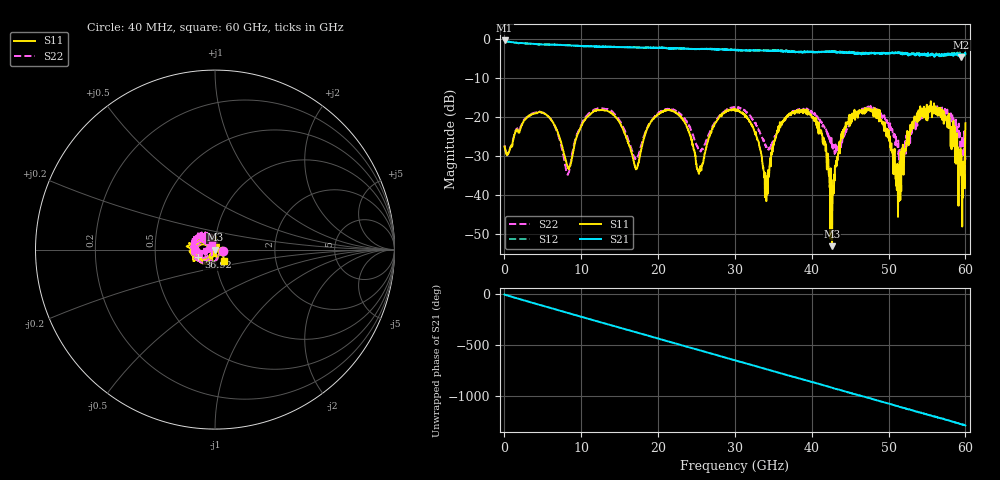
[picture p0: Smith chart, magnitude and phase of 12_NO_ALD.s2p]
! File created by 'SoftPlot +Plus+ Measurement Management Software'
! SoftPlot +Plus+ Measurement Management Software
! Start 40.000000 MHz  Stop 60.000000 GHz  Points 1601
# MHZ S RI R 50
! S-Parameter data, F S11 S21 S12 S22
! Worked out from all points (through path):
!   1601 points, 40 MHz to 60 GHz, reference 50 ohm
!   highest |S21| = -0.41 dB at 40 MHz (marker M1); lowest = -4.6 dB at 59.48 GHz (marker M2)
!   group delay of S21, straight-line fit = 59.3 ps
!   lowest |S11| = -53.2 dB at 42.65 GHz (marker M3), VSWR 1.00, Z = 50.2 - j0.08 ohm
!   |S11| at or under -10 dB: start of sweep to end of sweep
!   |S22| runs from -34.9 to -17.0 dB; largest |S21 - S12| = 0.086
!   S11 on the Smith chart (normalised r, x): 40 MHz: 1.08, -0.02; 36.92 GHz: 0.83, -0.07; 60 GHz: 1.10, -0.14
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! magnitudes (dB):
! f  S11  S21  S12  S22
! 40 MHz  -27.7  -0.4  -0.4  -27.3
! 4.874 GHz  -18.9  -1.5  -1.5  -18.9
! 8.284 GHz  -33.1  -1.6  -1.6  -34.8
! 10.05 GHz  -22.3  -1.9  -1.8  -21.9
! 13.98 GHz  -19.1  -2.0  -2.0  -18.5
! 17.2 GHz  -33.4  -2.2  -2.2  -30.8
! 20.05 GHz  -19.3  -2.4  -2.3  -19.0
! 23.2 GHz  -20.7  -2.5  -2.4  -19.9
! 25.37 GHz  -33.6  -2.6  -2.6  -28.5
! 30.02 GHz  -18.3  -2.8  -2.7  -17.6
! 32.46 GHz  -23.2  -3.0  -3.0  -21.0
! 34.14 GHz  -39.9  -3.0  -3.0  -27.8
! 36.92 GHz  -19.9  -3.3  -3.1  -19.7
! 40.03 GHz  -20.2  -3.3  -3.3  -18.9
! 42.65 GHz  -53.2  -3.2  -3.1  -28.0
! 45.27 GHz  -19.2  -3.3  -3.4  -20.4
! 50.03 GHz  -23.5  -3.8  -3.6  -22.4
! 51.23 GHz  -45.7  -3.7  -3.5  -26.5
! 53.14 GHz  -21.5  -3.9  -3.6  -22.2
! 55.77 GHz  -17.5  -4.0  -4.0  -17.9
! 59.48 GHz  -29.9  -4.6  -3.9  -26.8
! 60 GHz  -21.6  -3.9  -3.7  -31.0
